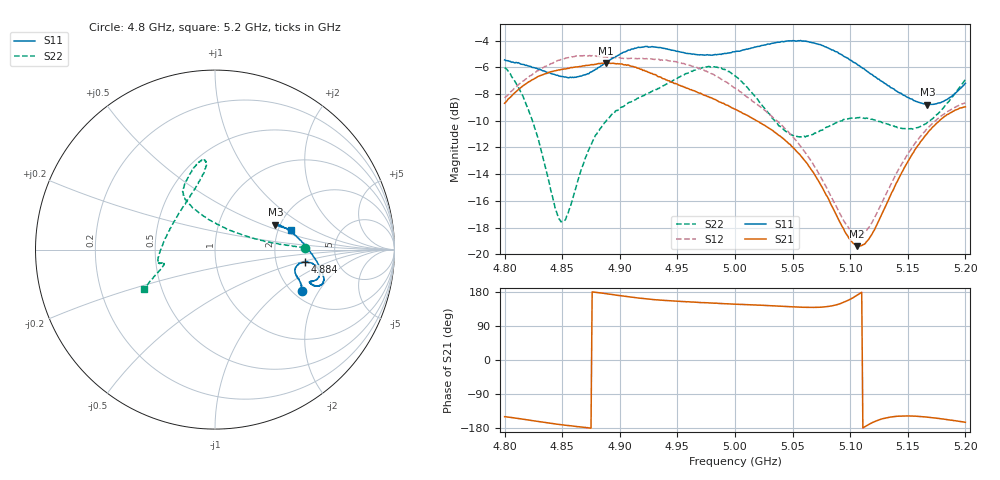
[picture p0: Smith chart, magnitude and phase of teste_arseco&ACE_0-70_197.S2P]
! Network Analyzer HP8722D
! Hewlett-Packard
! Data name: Linha & Wilkinson
! Saver's name: Rodrigo Anjos
! Comments: Teste da utilização de aquisição
! continua pelo VNA HP8722D
! Time and date: 8/5/2025 14:24
!  Frequency  S11  S21  S12  S22
# HZ  S  MA R 50
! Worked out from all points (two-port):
!   401 points, 4.8 GHz to 5.2 GHz, reference 50 ohm
!   highest |S21| = -5.67 dB at 4.888 GHz (marker M1); lowest = -19.4 dB at 5.106 GHz (marker M2)
!   |S21| within 3 dB of the highest: 4.8 GHz to 4.989 GHz (188.6 MHz wide, 3.85 % of centre)
!   lowest |S11| = -8.8 dB at 5.167 GHz (marker M3), VSWR 2.14, Z = 94.3 + j30.2 ohm
!   |S11| at or under -10 dB: nowhere
!   |S22| runs from -17.6 to -5.9 dB; largest |S21 - S12| = 1.1
!   S11 on the Smith chart (normalised r, x): 4.8 GHz: 2.24, -1.43; 4.884 GHz: 2.95, -0.56; 5.2 GHz: 2.34, +0.64
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4.8e9  0.5344 -25.3  0.3678 -149.5  0.3853 9.8  0.5004 1.2
4.812e9  0.5219 -22.3  0.4139 -154.4  0.4314 8.1  0.4212 2.6
4.823e9  0.5043 -20.4  0.4477 -159.5  0.4672 6.6  0.3265 6.5
4.848e9  0.4646 -16.1  0.4902 -170.3  0.5334 2.5  0.1346 55.9
4.854e9  0.4599 -14.7  0.4959 -172.6  0.5437 1.6  0.1395 81.2
4.867e9  0.4653 -10.8  0.5062 -177.0  0.5537 -0.2  0.2111 111.4
4.884e9  0.5089 -8.0  0.5193 176.6  0.5484 -1.5  0.2988 120.0
4.888e9  0.5216 -7.7  0.5204 174.9  0.5489 -1.7  0.3146 120.1
4.912e9  0.588 -10.9  0.5043 165.2  0.5406 -0.9  0.3758 118.1
4.934e9  0.594 -15.7  0.4623 158.2  0.5377 -1.9  0.4179 112.0
4.976e9  0.5591 -18.8  0.39 151.1  0.4824 -5.6  0.5036 98.6
5e9  0.5738 -19.8  0.3496 147.2  0.4195 -5.8  0.4661 96.4
5.043e9  0.6264 -18.0  0.2687 141.5  0.297 2.3  0.2908 130.0
5.067e9  0.6194 -13.5  0.2054 138.9  0.2207 9.2  0.2806 164.9
5.095e9  0.5493 -4.1  0.1225 152.9  0.1323 33.1  0.3202 -171.8
5.106e9  0.5142 1.0  0.1073 171.0  0.118 53.6  0.3248 -168.2
5.117e9  0.4759 6.5  0.1155 -168.6  0.1273 75.4  0.3223 -166.3
5.134e9  0.4264 14.7  0.1628 -150.9  0.1775 94.6  0.3054 -165.7
5.153e9  0.3818 21.1  0.2336 -147.7  0.2482 101.0  0.2956 -164.1
5.167e9  0.3638 22.5  0.284 -150.9  0.2959 101.9  0.3118 -161.4
5.183e9  0.3782 20.2  0.3304 -156.9  0.3395 101.9  0.3623 -156.8
5.2e9  0.4369 14.8  0.3564 -164.3  0.3697 102.3  0.4512 -150.8
